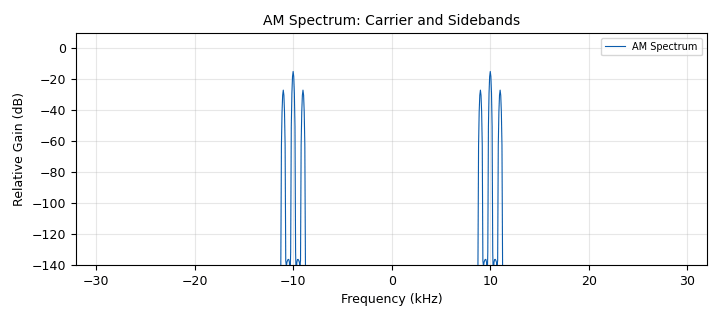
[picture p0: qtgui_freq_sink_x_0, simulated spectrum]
options:
  parameters:
    author: Dhrubjun
    generate_options: qt_gui
    id: exp3
    output_language: python
    title: AM Power Distribution
  states: {}

blocks:
- name: carrier_freq
  id: variable
  parameters:
    value: '10000'
  states: {}
- name: message_freq
  id: variable
  parameters:
    value: '1000'
  states: {}
- name: mu
  id: variable_qtgui_range
  parameters:
    label: Modulation Index (μ)
    start: '0'
    step: '0.1'
    stop: '1'
    value: '0.5'
  states: {}
- name: samp_rate
  id: variable
  parameters:
    value: '64000'
  states: {}
- name: analog_const_source_x_0
  id: analog_const_source_x
  parameters:
    const: '1'
    type: float
  states: {}
- name: analog_const_source_x_1
  id: analog_const_source_x
  parameters:
    const: 100 / (1 + mu**2/2)
    type: float
  states: {}
- name: analog_const_source_x_1_0
  id: analog_const_source_x
  parameters:
    const: 50 * (mu**2/2) / (1 + mu**2/2)
    type: float
  states: {}
- name: analog_const_source_x_1_0_0
  id: analog_const_source_x
  parameters:
    const: 100 * (mu**2/2) / (1 + mu**2/2)
    type: float
  states: {}
- name: analog_const_source_x_1_0_1
  id: analog_const_source_x
  parameters:
    const: 50 * (mu**2/2) / (1 + mu**2/2)
    type: float
  states: {}
- name: analog_sig_source_x_0
  id: analog_sig_source_x
  parameters:
    amp: mu
    freq: message_freq
    offset: '0'
    phase: '0'
    samp_rate: samp_rate
    type: float
    waveform: analog.GR_COS_WAVE
  states: {}
- name: analog_sig_source_x_0_0
  id: analog_sig_source_x
  parameters:
    amp: '1'
    freq: carrier_freq
    offset: '0'
    phase: '0'
    samp_rate: samp_rate
    type: float
    waveform: analog.GR_COS_WAVE
  states: {}
- name: blocks_add_xx_0
  id: blocks_add_xx
  parameters:
    type: float
  states: {}
- name: blocks_multiply_xx_0
  id: blocks_multiply_xx
  parameters:
    type: float
  states: {}
- name: blocks_throttle2_0
  id: blocks_throttle2
  parameters:
    samples_per_second: samp_rate
    type: float
  states: {}
- name: qtgui_freq_sink_x_0
  id: qtgui_freq_sink_x
  parameters:
    bw: samp_rate
    fc: '0'
    fftsize: '1024'
    label1: AM Spectrum
    name: 'AM Spectrum: Carrier and Sidebands'
    type: float
  states: {}
- name: qtgui_number_sink_1
  id: qtgui_number_sink
  parameters:
    graph_type: qtgui.NUM_GRAPH_HORIZ
    label1: 'Carrier Power   '
    label2: LSB Power
    label3: 'USB Power '
    label4: Total Sideband Power (Efficiency)
    max: '100'
    min: '0'
    name: AM Power Distribution (%)
    nconnections: '4'
    type: float
    unit1: '%'
    unit2: '%'
    unit3: '%'
    unit4: '%'
  states: {}

connections:
- [analog_const_source_x_0, '0', blocks_add_xx_0, '1']
- [analog_const_source_x_1, '0', qtgui_number_sink_1, '0']
- [analog_const_source_x_1_0, '0', qtgui_number_sink_1, '1']
- [analog_const_source_x_1_0_0, '0', qtgui_number_sink_1, '3']
- [analog_const_source_x_1_0_1, '0', qtgui_number_sink_1, '2']
- [analog_sig_source_x_0, '0', blocks_add_xx_0, '0']
- [analog_sig_source_x_0_0, '0', blocks_multiply_xx_0, '1']
- [blocks_add_xx_0, '0', blocks_multiply_xx_0, '0']
- [blocks_multiply_xx_0, '0', blocks_throttle2_0, '0']
- [blocks_throttle2_0, '0', qtgui_freq_sink_x_0, '0']

metadata:
  file_format: 1
  grc_version: 3.10.12.0
